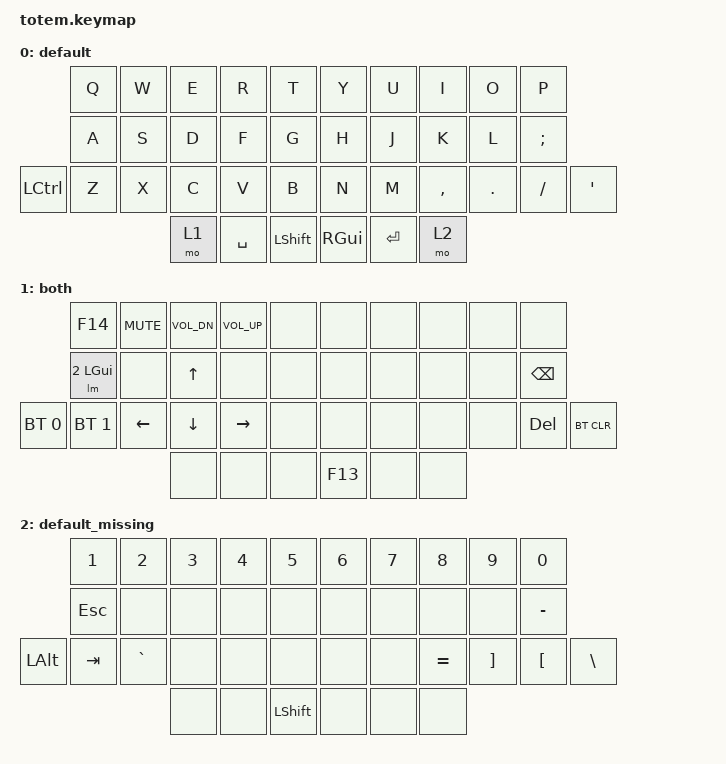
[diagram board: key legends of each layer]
#include <behaviors.dtsi>
#include <dt-bindings/zmk/keys.h>
#include <dt-bindings/zmk/bt.h>
#include <dt-bindings/zmk/outputs.h>

/ {
	macros {
		lm: lm {
		    compatible = "zmk,behavior-macro-two-param";
		    wait-ms = <0>;
		    tap-ms = <0>;
		    #binding-cells = <2>;
		    bindings
		        = <&macro_param_1to1>
		        , <&macro_press &mo MACRO_PLACEHOLDER>
		        , <&macro_param_2to1>
		        , <&macro_press &kp MACRO_PLACEHOLDER>
		        , <&macro_pause_for_release>
		        , <&macro_param_2to1>
		        , <&macro_release &kp MACRO_PLACEHOLDER>
		        , <&macro_param_1to1>
		        , <&macro_release &mo MACRO_PLACEHOLDER>
		        ;
		};
	};

    keymap {
        compatible = "zmk,keymap";
// ▄▄▄▄▄▄▄▄▄▄▄▄▄▄▄▄▄▄▄▄▄▄▄▄▄▄▄▄▄▄▄▄▄▄▄▄▄▄▄▄▄▄▄▄▄▄▄▄▄▄▄▄▄▄▄▄▄▄▄▄▄▄▄▄▄▄▄▄▄▄▄▄▄▄▄▄▄▄▄▄▄▄▄▄▄▄▄▄▄▄▄▄▄▄▄▄▄▄▄▄▄▄▄▄▄▄▄▄▄▄▄▄▄▄▄▄▄▄▄▄▄▄▄▄▄▄▄▄▄▄▄▄▄▄▄▄▄▄▄▄▄▄▄▄▄▄▄▄▄
                default {
					bindings = <
// ╷           ╷           ╷           ╷           ╷           ╷           ╷   ╷           ╷           ╷           ╷           ╷           ╷           ╷
                &kp Q       &kp W       &kp E       &kp R       &kp T           &kp Y       &kp U       &kp I       &kp O       &kp P
                &kp A       &kp S       &kp D       &kp F       &kp G           &kp H       &kp J       &kp K       &kp L       &kp SEMI
    &kp LCTRL   &kp Z       &kp X       &kp C       &kp V       &kp B           &kp N       &kp M       &kp COMMA   &kp DOT     &kp FSLH    &kp SQT
                                        &mo 1       &kp SPACE   &kp LSHFT       &kp RGUI    &kp RET     &mo 2
                    >;
                };

// ▄▄▄▄▄▄▄▄▄▄▄▄▄▄▄▄▄▄▄▄▄▄▄▄▄▄▄▄▄▄▄▄▄▄▄▄▄▄▄▄▄▄▄▄▄▄▄▄▄▄▄▄▄▄▄▄▄▄▄▄▄▄▄▄▄▄▄▄▄▄▄▄▄▄▄▄▄▄▄▄▄▄▄▄▄▄▄▄▄▄▄▄▄▄▄▄▄▄▄▄▄▄▄▄▄▄▄▄▄▄▄▄▄▄▄▄▄▄▄▄▄▄▄▄▄▄▄▄▄▄▄▄▄▄▄▄▄▄▄▄▄▄▄▄▄▄▄▄▄
                both {
					bindings = <
// ╷           ╷           ╷           ╷           ╷           ╷           ╷   ╷           ╷           ╷           ╷           ╷           ╷           ╷
                &kp F14     &kp C_MUTE  &kp C_VOL_DN  &kp C_VOL_UP  &none       &none       &none       &none       &none       &none
                &lm 2 LGUI  &none       &kp UP      &none       &none           &none       &none       &none       &none       &kp BSPC
&bt BT_SEL 0  &bt BT_SEL 1  &kp LEFT    &kp DOWN    &kp RIGHT   &none           &none       &none       &none       &none       &kp DEL     &bt BT_CLR
                                        &none       &none       &none           &kp F13     &none       &none
                    >;
                };

// ▄▄▄▄▄▄▄▄▄▄▄▄▄▄▄▄▄▄▄▄▄▄▄▄▄▄▄▄▄▄▄▄▄▄▄▄▄▄▄▄▄▄▄▄▄▄▄▄▄▄▄▄▄▄▄▄▄▄▄▄▄▄▄▄▄▄▄▄▄▄▄▄▄▄▄▄▄▄▄▄▄▄▄▄▄▄▄▄▄▄▄▄▄▄▄▄▄▄▄▄▄▄▄▄▄▄▄▄▄▄▄▄▄▄▄▄▄▄▄▄▄▄▄▄▄▄▄▄▄▄▄▄▄▄▄▄▄▄▄▄▄▄▄▄▄▄▄▄▄
                default_missing {
					bindings = <
// ╷           ╷           ╷           ╷           ╷           ╷           ╷   ╷           ╷           ╷           ╷           ╷           ╷           ╷
                &kp N1      &kp N2      &kp N3      &kp N4      &kp N5          &kp N6      &kp N7      &kp N8      &kp N9      &kp N0
                &kp ESC     &none       &none       &none       &none           &none       &none       &none       &none       &kp MINUS
    &kp LALT    &kp TAB     &kp GRAVE   &none       &none       &none           &none       &none       &kp EQUAL   &kp RBKT    &kp LBKT    &kp BSLH
                                        &none       &none       &kp LSHFT       &none       &none       &none
                    >;
                };

// ▄▄▄▄▄▄▄▄▄▄▄▄▄▄▄▄▄▄▄▄▄▄▄▄▄▄▄▄▄▄▄▄▄▄▄▄▄▄▄▄▄▄▄▄▄▄▄▄▄▄▄▄▄▄▄▄▄▄▄▄▄▄▄▄▄▄▄▄▄▄▄▄▄▄▄▄▄▄▄▄▄▄▄▄▄▄▄▄▄▄▄▄▄▄▄▄▄▄▄▄▄▄▄▄▄▄▄▄▄▄▄▄▄▄▄▄▄▄▄▄▄▄▄▄▄▄▄▄▄▄▄▄▄▄▄▄▄▄▄▄▄▄▄▄▄▄▄▄▄
        };
};
